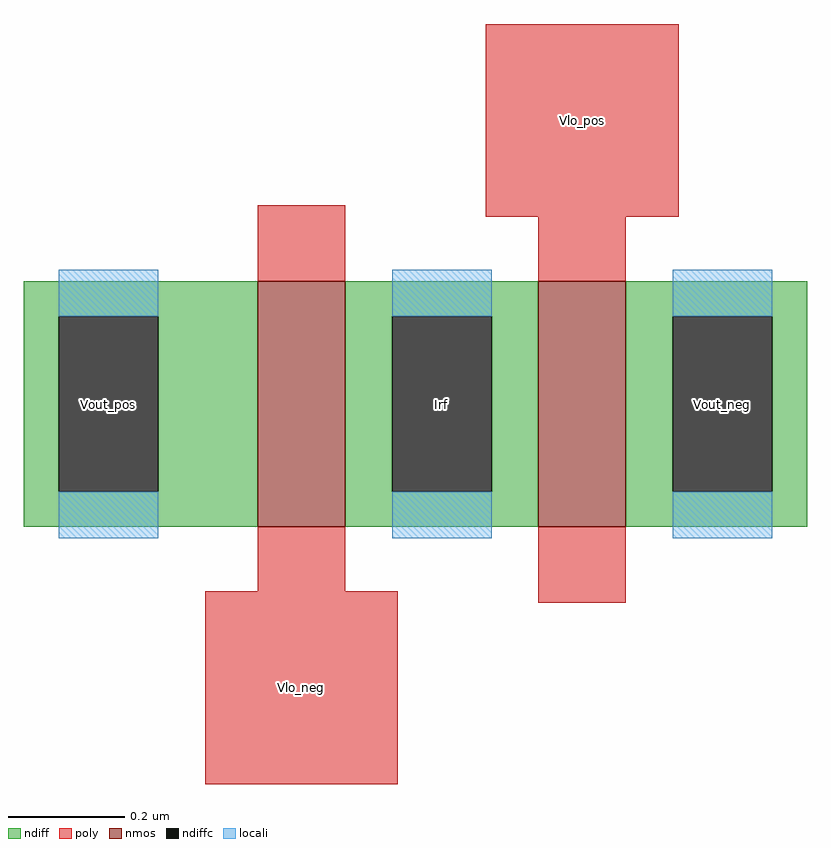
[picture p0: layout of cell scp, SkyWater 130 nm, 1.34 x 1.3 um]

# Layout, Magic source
magic
tech sky130A
magscale 1 2
<< nmos >>
rect -63 -42 -33 42
rect 33 -42 63 42
<< ndiff >>
rect -143 30 -63 42
rect -143 -30 -131 30
rect -97 -30 -63 30
rect -143 -42 -63 -30
rect -33 30 33 42
rect -33 -30 -17 30
rect 17 -30 33 30
rect -33 -42 33 -30
rect 63 30 125 42
rect 63 -30 79 30
rect 113 -30 125 30
rect 63 -42 125 -30
<< ndiffc >>
rect -131 -30 -97 30
rect -17 -30 17 30
rect 79 -30 113 30
<< poly >>
rect -63 42 -33 68
rect 15 64 81 130
rect 33 42 63 64
rect -63 -64 -33 -42
rect -81 -130 -15 -64
rect 33 -68 63 -42
<< locali >>
rect -131 30 -97 46
rect -131 -46 -97 -30
rect -17 30 17 46
rect -17 -46 17 -30
rect 79 30 113 46
rect 79 -46 113 -30
<< labels >>
rlabel ndiffc 79 -30 113 30 1 Vout_neg
rlabel ndiffc -17 -30 17 30 1 Irf
rlabel ndiffc -131 -30 -97 30 1 Vout_pos
rlabel poly -65 -114 -31 -80 1 Vlo_neg
rlabel poly 31 80 65 114 1 Vlo_pos
<< properties >>
string gencell nshort
string FIXED_BBOX -210 -199 210 199
string parameters w 0.420 l 0.150 m 1 nf 2 diffcov 100 polycov 100 guard 0 glc 1 grc 1 gtc 1 gbc 1 tbcov 100 rlcov 100 topc 1 botc 1 poverlap 0 doverlap 1 lmin 0.15 wmin 0.42 compatible {nshort nlowvt sonos_e nhv nhvnative} full_metal 1
string library sky130
<< end >>
